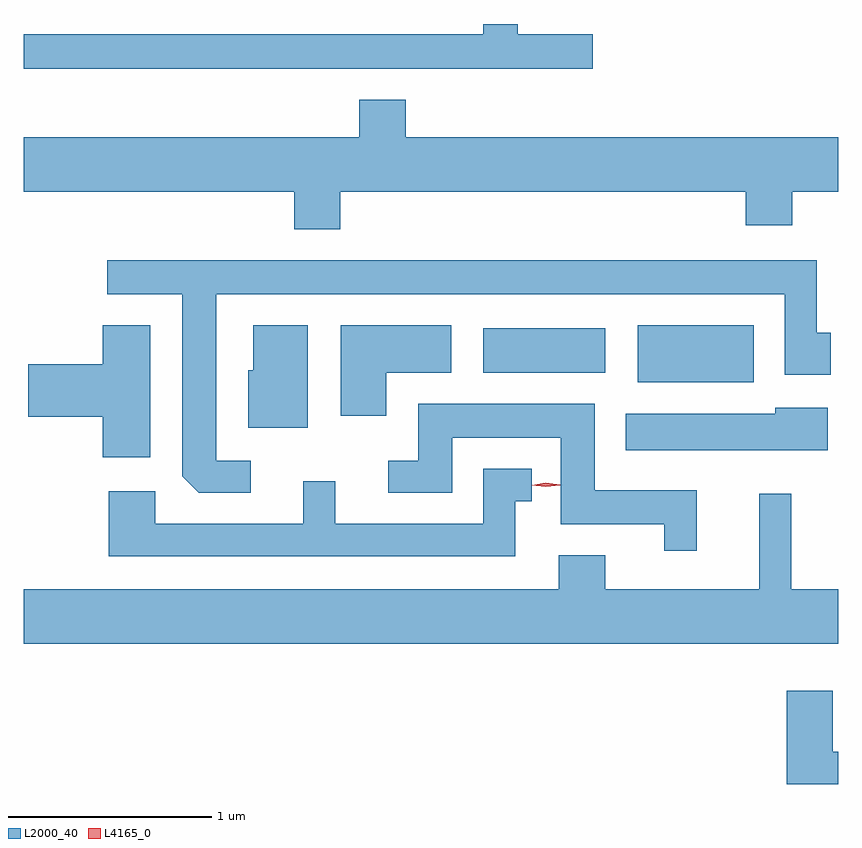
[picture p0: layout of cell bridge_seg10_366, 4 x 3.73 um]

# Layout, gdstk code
import gdstk
lib = gdstk.Library(unit=1e-6, precision=1e-09)
def R(c, l, rs):  # rectangles x0, y0, x1, y1
    for r in rs: c.add(gdstk.rectangle(r[:2], r[2:], *l))
def P(c, l, *ps):  # polygons
    for p in ps: c.add(gdstk.Polygon(p, *l))
L2000_40 = (2000, 40)
L4165_0 = (4165, 0)

bridge_seg10_366 = lib.new_cell('bridge_seg10_366')
R(bridge_seg10_366, L2000_40, [(1068.921,2088.561,1069.489,2088.839), (1068.161,2088.606,1068.759,2088.824)])
P(bridge_seg10_366, L2000_40, [(1068.698,2090.269),(1068.329,2090.269),(1068.329,2090.32),(1068.161,2090.32),(1068.161,2090.269),(1065.904,2090.269),(1065.904,2090.101),(1068.698,2090.101)],
  [(1067.459,2089.496),(1069.451,2089.496),(1069.451,2089.331),(1069.679,2089.331),(1069.679,2089.496),(1069.904,2089.496),(1069.904,2089.764),(1067.779,2089.764),(1067.779,2089.949),(1067.551,2089.949),(1067.551,2089.764),(1065.904,2089.764),(1065.904,2089.496),(1067.231,2089.496),(1067.231,2089.311),(1067.459,2089.311)],
  [(1067.018,2088.174),(1066.849,2088.174),(1066.849,2088.991),(1069.641,2088.991),(1069.641,2088.596),(1069.869,2088.596),(1069.869,2088.804),(1069.799,2088.804),(1069.799,2089.159),(1066.313,2089.159),(1066.313,2088.991),(1066.681,2088.991),(1066.681,2088.097),(1066.762,2088.016),(1067.018,2088.016)],
  [(1067.684,2088.606),(1068.004,2088.606),(1068.004,2088.839),(1067.461,2088.839),(1067.461,2088.396),(1067.684,2088.396)],
  [(1066.524,2088.839),(1066.291,2088.839),(1066.291,2088.649),(1065.926,2088.649),(1065.926,2088.391),(1066.291,2088.391),(1066.291,2088.191),(1066.524,2088.191)],
  [(1067.299,2088.839),(1067.031,2088.839),(1067.031,2088.619),(1067.006,2088.619),(1067.006,2088.336),(1067.299,2088.336)],
  [(1069.209,2088.029),(1068.709,2088.029),(1068.709,2088.454),(1067.841,2088.454),(1067.841,2088.174),(1067.693,2088.174),(1067.693,2088.016),(1068.009,2088.016),(1068.009,2088.286),(1068.541,2088.286),(1068.541,2087.861),(1069.051,2087.861),(1069.051,2087.733),(1069.209,2087.733)],
  [(1069.854,2088.434),(1069.596,2088.434),(1069.596,2088.404),(1068.861,2088.404),(1068.861,2088.226),(1069.854,2088.226)],
  [(1068.319,2087.976),(1068.398,2087.976),(1068.398,2088.134),(1068.161,2088.134),(1068.161,2087.864),(1067.434,2087.864),(1067.434,2088.073),(1067.276,2088.073),(1067.276,2087.864),(1066.549,2087.864),(1066.549,2088.024),(1066.321,2088.024),(1066.321,2087.706),(1068.319,2087.706)],
  [(1069.904,2087.544),(1069.674,2087.544),(1069.674,2088.012),(1069.516,2088.012),(1069.516,2087.544),(1068.759,2087.544),(1068.759,2087.709),(1068.531,2087.709),(1068.531,2087.544),(1065.904,2087.544),(1065.904,2087.276),(1069.904,2087.276)],
  [(1069.904,2086.744),(1069.879,2086.744),(1069.879,2087.044),(1069.651,2087.044),(1069.651,2086.586),(1069.904,2086.586)])
P(bridge_seg10_366, L4165_0, [(1068.468,2088.046),(1068.399,2088.054),(1068.399,2088.055),(1068.399,2088.055),(1068.468,2088.065),(1068.538,2088.056),(1068.538,2088.056),(1068.538,2088.055)])

lib.write_gds('bridge_seg10_366.gds')
